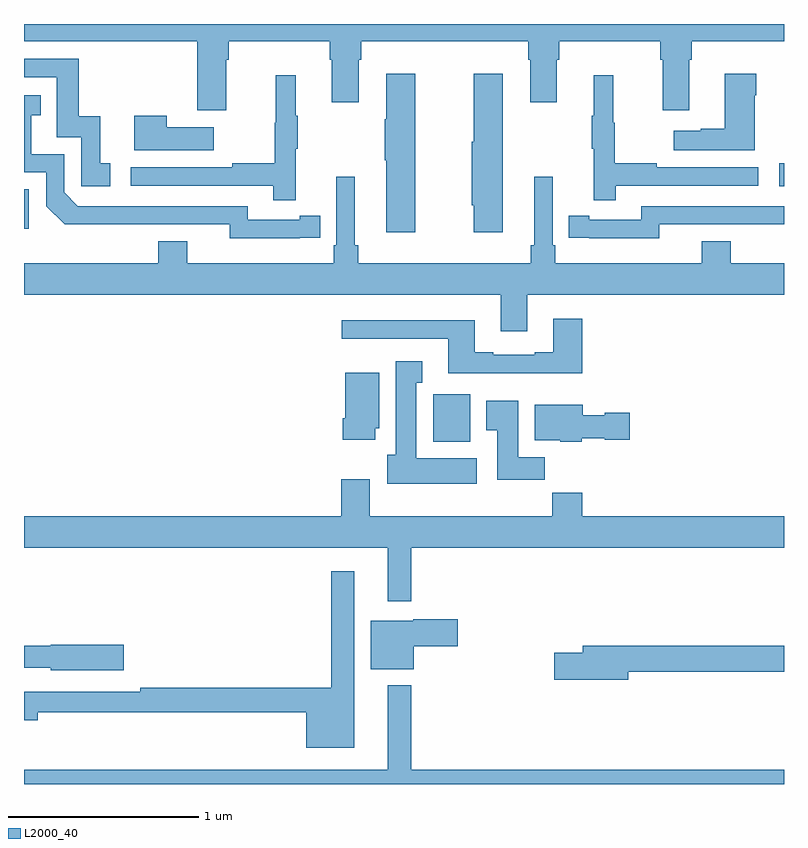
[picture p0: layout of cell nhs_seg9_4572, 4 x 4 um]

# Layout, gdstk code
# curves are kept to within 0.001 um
import gdstk
lib = gdstk.Library(unit=1e-6, precision=1e-09)
def R(c, l, rs):  # rectangles x0, y0, x1, y1
    for r in rs: c.add(gdstk.rectangle(r[:2], r[2:], *l))
def P(c, l, *ps):  # polygons
    for p in ps: c.add(gdstk.Polygon(p, *l))
L2000_40 = (2000, 40)

nhs_seg9_4572 = lib.new_cell('nhs_seg9_4572')
R(nhs_seg9_4572, L2000_40, [(375.153,1206.302,375.349,1206.552), (373,1207.422,373.026,1207.629), (376.974,1207.647,377,1207.767)])
P(nhs_seg9_4572, L2000_40, [(374.065,1208.312),(374.078,1208.312),(374.078,1208.408),(374.609,1208.408),(374.609,1208.312),(374.621,1208.312),(374.621,1208.088),(374.761,1208.088),(374.761,1208.312),(374.774,1208.312),(374.774,1208.408),(375.653,1208.408),(375.653,1208.312),(375.665,1208.312),(375.665,1208.088),(375.805,1208.088),(375.805,1208.312),(375.818,1208.312),(375.818,1208.408),(376.349,1208.408),(376.349,1208.312),(376.361,1208.312),(376.361,1208.046),(376.501,1208.046),(376.501,1208.312),(376.514,1208.312),(376.514,1208.408),(377,1208.408),(377,1208.5),(373,1208.5),(373,1208.408),(373.913,1208.408),(373.913,1208.046),(374.065,1208.046)],
  [(373.453,1207.767),(373.4,1207.767),(373.4,1208.014),(373.289,1208.014),(373.289,1208.316),(373,1208.316),(373,1208.22),(373.173,1208.22),(373.173,1207.905),(373.302,1207.905),(373.302,1207.647),(373.453,1207.647)],
  [(376.846,1208.126),(376.854,1208.126),(376.854,1208.239),(376.688,1208.239),(376.688,1207.949),(376.562,1207.949),(376.562,1207.939),(376.419,1207.939),(376.419,1207.835),(376.846,1207.835)],
  [(375.06,1208.239),(374.906,1208.239),(374.906,1208),(374.899,1208),(374.899,1207.783),(374.906,1207.783),(374.906,1207.404),(375.06,1207.404)],
  [(375.52,1208.239),(375.367,1208.239),(375.367,1207.881),(375.356,1207.881),(375.356,1207.545),(375.367,1207.545),(375.367,1207.404),(375.52,1207.404)],
  [(376.115,1207.65),(376.864,1207.65),(376.864,1207.746),(376.331,1207.746),(376.331,1207.766),(376.108,1207.766),(376.108,1207.98),(376.1,1207.98),(376.1,1208.23),(375.998,1208.23),(375.998,1208.017),(375.987,1208.017),(375.987,1207.843),(375.998,1207.843),(375.998,1207.572),(376.115,1207.572)],
  [(374.429,1207.843),(374.44,1207.843),(374.44,1208.017),(374.429,1208.017),(374.429,1208.23),(374.326,1208.23),(374.326,1207.98),(374.319,1207.98),(374.319,1207.766),(374.095,1207.766),(374.095,1207.746),(373.563,1207.746),(373.563,1207.65),(374.311,1207.65),(374.311,1207.572),(374.429,1207.572)],
  [(374.45,1207.374),(374.558,1207.374),(374.558,1207.49),(374.45,1207.49),(374.45,1207.47),(374.178,1207.47),(374.178,1207.542),(373.284,1207.542),(373.212,1207.614),(373.212,1207.815),(373.039,1207.815),(373.039,1208.019),(373.088,1208.019),(373.088,1208.125),(373,1208.125),(373,1207.719),(373.116,1207.719),(373.116,1207.542),(373.214,1207.445),(374.082,1207.446),(374.082,1207.373)],
  [(373.999,1207.957),(373.751,1207.957),(373.751,1208.017),(373.58,1208.017),(373.58,1207.835),(373.999,1207.835)],
  [(375.649,1207.076),(377,1207.076),(377,1207.24),(376.721,1207.24),(376.721,1207.357),(376.568,1207.357),(376.568,1207.24),(375.797,1207.24),(375.797,1207.336),(375.783,1207.336),(375.783,1207.696),(375.686,1207.696),(375.686,1207.336),(375.667,1207.336),(375.667,1207.24),(374.759,1207.24),(374.759,1207.336),(374.74,1207.336),(374.74,1207.696),(374.643,1207.696),(374.643,1207.336),(374.63,1207.336),(374.63,1207.24),(373.858,1207.24),(373.858,1207.357),(373.706,1207.357),(373.706,1207.24),(373,1207.24),(373,1207.076),(375.509,1207.076),(375.509,1206.882),(375.649,1206.882)],
  [(376.344,1207.446),(376.804,1207.446),(376.804,1207.445),(377,1207.445),(377,1207.542),(376.248,1207.542),(376.248,1207.47),(375.976,1207.47),(375.976,1207.49),(375.868,1207.49),(375.868,1207.374),(375.976,1207.374),(375.976,1207.373),(376.344,1207.373)],
  [(375.938,1206.949),(375.785,1206.949),(375.785,1206.772),(375.689,1206.772),(375.689,1206.759),(375.469,1206.759),(375.469,1206.772),(375.373,1206.772),(375.373,1206.94),(374.673,1206.94),(374.673,1206.843),(375.233,1206.843),(375.233,1206.662),(375.938,1206.662)],
  [(375.382,1206.214),(375.064,1206.214),(375.064,1206.611),(375.097,1206.611),(375.097,1206.724),(374.957,1206.724),(374.957,1206.234),(374.912,1206.234),(374.912,1206.08),(375.382,1206.08)],
  [(374.848,1206.372),(374.869,1206.372),(374.869,1206.664),(374.69,1206.664),(374.69,1206.424),(374.678,1206.424),(374.678,1206.312),(374.848,1206.312)],
  [(375.74,1206.22),(375.601,1206.22),(375.601,1206.517),(375.434,1206.517),(375.434,1206.361),(375.491,1206.361),(375.491,1206.102),(375.74,1206.102)],
  [(375.936,1206.32),(376.056,1206.32),(376.056,1206.313),(376.189,1206.313),(376.189,1206.455),(376.056,1206.455),(376.056,1206.442),(375.94,1206.442),(375.94,1206.496),(375.689,1206.496),(375.689,1206.308),(375.822,1206.308),(375.822,1206.302),(375.936,1206.302)],
  [(374.821,1206.103),(374.669,1206.103),(374.669,1205.908),(373,1205.908),(373,1205.744),(374.915,1205.744),(374.915,1205.463),(375.037,1205.463),(375.037,1205.744),(377,1205.744),(377,1205.908),(375.938,1205.908),(375.938,1206.032),(375.781,1206.032),(375.781,1205.908),(374.821,1205.908)],
  [(374.737,1205.62),(374.616,1205.62),(374.616,1205.006),(373.612,1205.006),(373.612,1204.986),(373,1204.986),(373,1204.835),(373.072,1204.835),(373.072,1204.878),(374.486,1204.878),(374.486,1204.691),(374.737,1204.691)],
  [(375.052,1205.225),(375.283,1205.225),(375.283,1205.367),(375.048,1205.367),(375.048,1205.359),(374.825,1205.359),(374.825,1205.105),(375.052,1205.105)],
  [(373.525,1205.234),(373.14,1205.234),(373.14,1205.228),(373,1205.228),(373,1205.112),(373.14,1205.112),(373.14,1205.099),(373.525,1205.099)],
  [(376.18,1205.092),(377,1205.092),(377,1205.228),(375.941,1205.228),(375.941,1205.192),(375.792,1205.192),(375.792,1205.05),(376.18,1205.05)],
  [(377,1204.576),(375.037,1204.576),(375.037,1205.02),(374.915,1205.02),(374.915,1204.576),(373,1204.576),(373,1204.5),(377,1204.5)])

lib.write_gds('nhs_seg9_4572.gds')
